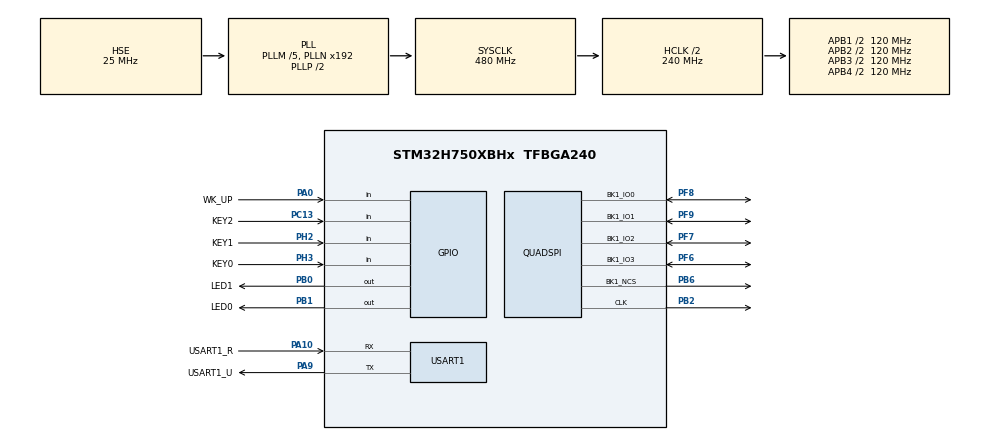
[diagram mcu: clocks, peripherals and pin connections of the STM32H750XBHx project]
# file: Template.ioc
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CORTEX_M7.CPU_DCache=Enabled
CORTEX_M7.CPU_ICache=Enabled
CORTEX_M7.Enable_Spec=__NULL
CORTEX_M7.MPU_Control=MPU_PRIVILEGED_DEFAULT
CORTEX_M7.default_mode_Activation=1
IWDG1.Prescaler=IWDG_PRESCALER_64
IWDG1.Reload=4000
IWDG1.Window=4000
Mcu.Family=STM32H7
Mcu.Name=STM32H750XBHx
Mcu.Package=TFBGA240
NVIC.PriorityGroup=NVIC_PRIORITYGROUP_4
NVIC.TIM6_DAC_IRQn=true\:15\:0\:false\:false\:true\:false\:true\:true
NVIC.TimeBase=TIM6_DAC_IRQn
NVIC.TimeBaseIP=TIM6
NVIC.USART1_IRQn=true\:0\:0\:false\:false\:true\:true\:true\:true
PA0.GPIO_Label=WK_UP
PA0.GPIO_PuPd=GPIO_PULLDOWN
PA0.Signal=GPIO_Input
PA10.GPIO_Label=USART1_R
PA10.GPIO_PuPd=GPIO_PULLUP
PA10.Mode=Asynchronous
PA10.Signal=USART1_RX
PA13\ (JTMS/SWDIO).Mode=Serial_Wire
PA13\ (JTMS/SWDIO).Signal=DEBUG_JTMS-SWDIO
PA14\ (JTCK/SWCLK).Mode=Serial_Wire
PA14\ (JTCK/SWCLK).Signal=DEBUG_JTCK-SWCLK
PA9.GPIO_Label=USART1_U
PA9.Mode=Asynchronous
PA9.Signal=USART1_TX
PB0.GPIO_Label=LED1
PB0.GPIO_PuPd=GPIO_PULLUP
PB0.PinState=GPIO_PIN_SET
PB0.Signal=GPIO_Output
PB1.GPIO_Label=LED0
PB1.GPIO_PuPd=GPIO_PULLUP
PB1.PinState=GPIO_PIN_SET
PB1.Signal=GPIO_Output
PB2.GPIO_Speed=GPIO_SPEED_FREQ_VERY_HIGH
PB2.Mode=Single Bank 1
PB2.Signal=QUADSPI_CLK
PB6.GPIO_Speed=GPIO_SPEED_FREQ_VERY_HIGH
PB6.Mode=Single Bank 1
PB6.Signal=QUADSPI_BK1_NCS
PC13.GPIO_Label=KEY2
PC13.GPIO_PuPd=GPIO_PULLUP
PC13.Signal=GPIO_Input
PF6.GPIO_Speed=GPIO_SPEED_FREQ_VERY_HIGH
PF6.Mode=Single Bank 1
PF6.Signal=QUADSPI_BK1_IO3
PF7.GPIO_Speed=GPIO_SPEED_FREQ_VERY_HIGH
PF7.Mode=Single Bank 1
PF7.Signal=QUADSPI_BK1_IO2
PF8.GPIO_Speed=GPIO_SPEED_FREQ_VERY_HIGH
PF8.Mode=Single Bank 1
PF8.Signal=QUADSPI_BK1_IO0
PF9.GPIO_Speed=GPIO_SPEED_FREQ_VERY_HIGH
PF9.Mode=Single Bank 1
PF9.Signal=QUADSPI_BK1_IO1
PH0-OSC_IN\ (PH0).Mode=HSE-External-Oscillator
PH0-OSC_IN\ (PH0).Signal=RCC_OSC_IN
PH1-OSC_OUT\ (PH1).Mode=HSE-External-Oscillator
PH1-OSC_OUT\ (PH1).Signal=RCC_OSC_OUT
PH2.GPIO_Label=KEY1
PH2.GPIO_PuPd=GPIO_PULLUP
PH2.Signal=GPIO_Input
PH3.GPIO_Label=KEY0
PH3.GPIO_PuPd=GPIO_PULLUP
PH3.Signal=GPIO_Input
ProjectManager.HeapSize=0x200
ProjectManager.StackSize=0x400
ProjectManager.TargetToolchain=MDK-ARM V5.32
QUADSPI.ChipSelectHighTime=QSPI_CS_HIGH_TIME_2_CYCLE
QUADSPI.ClockPrescaler=1
QUADSPI.FifoThreshold=32
QUADSPI.FlashSize=23
QUADSPI.SampleShifting=QSPI_SAMPLE_SHIFTING_HALFCYCLE
RCC.ADCFreq_Value=50390625
RCC.APB1Freq_Value=120000000
RCC.APB2Freq_Value=120000000
RCC.APB3Freq_Value=120000000
RCC.APB4Freq_Value=120000000
RCC.CortexFreq_Value=480000000
RCC.D1PPRE=RCC_APB3_DIV2
RCC.D2PPRE1=RCC_APB1_DIV2
RCC.D2PPRE2=RCC_APB2_DIV2
RCC.D3PPRE=RCC_APB4_DIV2
RCC.DIVM1=5
RCC.DIVN1=192
RCC.HCLKFreq_Value=240000000
RCC.HPRE=RCC_HCLK_DIV2
RCC.PLL2FRACN=0
RCC.PLL3FRACN=0
RCC.PLLFRACN=0
RCC.PLLSourceVirtual=RCC_PLLSOURCE_HSE
RCC.PWR_Regulator_Voltage_Scale=PWR_REGULATOR_VOLTAGE_SCALE0
RCC.SYSCLKFreq_VALUE=480000000
RCC.SYSCLKSource=RCC_SYSCLKSOURCE_PLLCLK
RCC.USBFreq_Value=480000000
USART1.VirtualMode-Asynchronous=VM_ASYNC
VP_IWDG1_VS_IWDG.Mode=IWDG_Activate
VP_MEMORYMAP_VS_MEMORYMAP.Mode=CurAppReg
VP_SYS_VS_tim6.Mode=TIM6
board=custom

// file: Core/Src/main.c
/* USER CODE BEGIN Header */
/**
  ******************************************************************************
  * @file           : main.c
  * @brief          : Main program body
  ******************************************************************************
  * @attention
  *
  * Copyright (c) 2026 STMicroelectronics.
  * All rights reserved.
  *
  * This software is licensed under terms that can be found in the LICENSE file
  * in the root directory of this software component.
  * If no LICENSE file comes with this software, it is provided AS-IS.
  *
  ******************************************************************************
  */
/* USER CODE END Header */
#include "main.h"
#include "iwdg.h"
#include "quadspi.h"
#include "usart.h"
#include "gpio.h"

/* USER CODE BEGIN Includes */
#include <stdio.h>
#include "./BSP/MPU/mpu.h"
#include "./BSP/BSPQSPI/BspQspiBoot.h"
#include "./BSP/LED/led.h"
/* USER CODE END Includes */

void SystemClock_Config(void);
static void MPU_Config(void);
/* USER CODE BEGIN PFP */
/* ����ȫ���жϵĺ� */
#define ENABLE_INT()	__set_PRIMASK(0)	/* ʹ��ȫ���ж� */
#define DISABLE_INT()	__set_PRIMASK(1)	/* ��ֹȫ���ж� */

void JumpToApp(void)
{
	uint32_t i=0;
	void (*AppJump)(void);         /* 声明一个函数指针 */
	__IO uint32_t AppAddr = 0x90002000;  /* APP 地址 */

    /* 关闭全局中断 */
	DISABLE_INT();
    //[删除]
    /* 设置所有时钟到默认状态，使用HSI时钟 */
	HAL_RCC_DeInit();
    //【添加】
    HAL_SuspendTick();

	/* 关闭滴答定时器，复位到默认值 */
	SysTick->CTRL = 0;
    SysTick->LOAD = 0;
    SysTick->VAL = 0;

    /* 关闭所有中断，清除所有中断挂起标志 */
	for (i = 0; i < 8; i++)
	{
		NVIC->ICER[i]=0xFFFFFFFF;
		NVIC->ICPR[i]=0xFFFFFFFF;
	}

    //	/* 使能全局中断 */
    ENABLE_INT();

	/* 跳转到应用程序，首地址是MSP，地址+4是复位中断服务程序地址 */
	AppJump = (void (*)(void)) (*((uint32_t *) (AppAddr + 4)));

	/* 设置主堆栈指针 */
	__set_MSP(*(uint32_t *)AppAddr);

	/* 在RTOS工程，这条语句很重要，设置为特权级模式，使用MSP指针 */
	__set_CONTROL(0);

	/* 跳转到系统BootLoader */
	AppJump();

	/* 跳转成功的话，不会执行到这里，用户可以在这里添加代码 */
	while (1)
	{

	}
}
/* USER CODE END PFP */

int main(void)
{

  /* MPU Configuration--------------------------------------------------------*/
   //MPU_Config();
   mpu_memory_protection();
  /* Enable the CPU Cache */

  /* Enable I-Cache---------------------------------------------------------*/
  SCB_EnableICache();

  /* Enable D-Cache---------------------------------------------------------*/
  SCB_EnableDCache();

  /* MCU Configuration--------------------------------------------------------*/

  /* Reset of all peripherals, Initializes the Flash interface and the Systick. */
  HAL_Init();

  /* Configure the system clock */
  SystemClock_Config();

  /* Initialize all configured peripherals */
  MX_GPIO_Init();
  MX_QUADSPI_Init();
  MX_USART1_UART_Init();
  //MX_IWDG1_Init();
  /* USER CODE BEGIN 2 */
    led_init();
    printf("Bootloader Started...\r\n"); // 先打一行，证明 Bootloader 跑起来了
    if (BspQspiBoot_MemMapped() != 0) {
        printf("QSPI Memory Mapped Failed!\r\n");
    Error_Handler();
    }

    printf("QSPI Mapped Success. Jumping to APP...\r\n");

    JumpToApp();
  /* USER CODE END 2 */

  /* Infinite loop */
  while (1)
  {

  }
}

void SystemClock_Config(void)
{
  RCC_OscInitTypeDef RCC_OscInitStruct = {0};
  RCC_ClkInitTypeDef RCC_ClkInitStruct = {0};

  /** Supply configuration update enable
  */
  HAL_PWREx_ConfigSupply(PWR_LDO_SUPPLY);

  /** Configure the main internal regulator output voltage
  */
  __HAL_PWR_VOLTAGESCALING_CONFIG(PWR_REGULATOR_VOLTAGE_SCALE0);

  while(!__HAL_PWR_GET_FLAG(PWR_FLAG_VOSRDY)) {}

  /** Initializes the RCC Oscillators according to the specified parameters
  * in the RCC_OscInitTypeDef structure.
  */
  RCC_OscInitStruct.OscillatorType = RCC_OSCILLATORTYPE_LSI|RCC_OSCILLATORTYPE_HSE;
  RCC_OscInitStruct.HSEState = RCC_HSE_ON;
  RCC_OscInitStruct.LSIState = RCC_LSI_ON;
  RCC_OscInitStruct.PLL.PLLState = RCC_PLL_ON;
  RCC_OscInitStruct.PLL.PLLSource = RCC_PLLSOURCE_HSE;
  RCC_OscInitStruct.PLL.PLLM = 5;
  RCC_OscInitStruct.PLL.PLLN = 192;
  RCC_OscInitStruct.PLL.PLLP = 2;
  RCC_OscInitStruct.PLL.PLLQ = 2;
  RCC_OscInitStruct.PLL.PLLR = 2;
  RCC_OscInitStruct.PLL.PLLRGE = RCC_PLL1VCIRANGE_2;
  RCC_OscInitStruct.PLL.PLLVCOSEL = RCC_PLL1VCOWIDE;
  RCC_OscInitStruct.PLL.PLLFRACN = 0;
  if (HAL_RCC_OscConfig(&RCC_OscInitStruct) != HAL_OK)
  {
    Error_Handler();
  }

  /** Initializes the CPU, AHB and APB buses clocks
  */
  RCC_ClkInitStruct.ClockType = RCC_CLOCKTYPE_HCLK|RCC_CLOCKTYPE_SYSCLK
                              |RCC_CLOCKTYPE_PCLK1|RCC_CLOCKTYPE_PCLK2
                              |RCC_CLOCKTYPE_D3PCLK1|RCC_CLOCKTYPE_D1PCLK1;
  RCC_ClkInitStruct.SYSCLKSource = RCC_SYSCLKSOURCE_PLLCLK;
  RCC_ClkInitStruct.SYSCLKDivider = RCC_SYSCLK_DIV1;
  RCC_ClkInitStruct.AHBCLKDivider = RCC_HCLK_DIV2;
  RCC_ClkInitStruct.APB3CLKDivider = RCC_APB3_DIV2;
  RCC_ClkInitStruct.APB1CLKDivider = RCC_APB1_DIV2;
  RCC_ClkInitStruct.APB2CLKDivider = RCC_APB2_DIV2;
  RCC_ClkInitStruct.APB4CLKDivider = RCC_APB4_DIV2;

  if (HAL_RCC_ClockConfig(&RCC_ClkInitStruct, FLASH_LATENCY_4) != HAL_OK)
  {
    Error_Handler();
  }
}

 /* MPU Configuration */

void MPU_Config(void)
{
  MPU_Region_InitTypeDef MPU_InitStruct = {0};

  /* Disables the MPU */
  HAL_MPU_Disable();

  /** Initializes and configures the Region and the memory to be protected
  */
  MPU_InitStruct.Enable = MPU_REGION_ENABLE;
  MPU_InitStruct.Number = MPU_REGION_NUMBER0;
  MPU_InitStruct.BaseAddress = 0x30040000;
  MPU_InitStruct.Size = MPU_REGION_SIZE_512B;
  MPU_InitStruct.SubRegionDisable = 0x0;
  MPU_InitStruct.TypeExtField = MPU_TEX_LEVEL0;
  MPU_InitStruct.AccessPermission = MPU_REGION_FULL_ACCESS;
  MPU_InitStruct.DisableExec = MPU_INSTRUCTION_ACCESS_ENABLE;
  MPU_InitStruct.IsShareable = MPU_ACCESS_NOT_SHAREABLE;
  MPU_InitStruct.IsCacheable = MPU_ACCESS_NOT_CACHEABLE;
  MPU_InitStruct.IsBufferable = MPU_ACCESS_BUFFERABLE;

  HAL_MPU_ConfigRegion(&MPU_InitStruct);

  /** Initializes and configures the Region and the memory to be protected
  */
  MPU_InitStruct.Number = MPU_REGION_NUMBER1;
  MPU_InitStruct.BaseAddress = 0x30044000;
  MPU_InitStruct.Size = MPU_REGION_SIZE_16KB;
  MPU_InitStruct.IsCacheable = MPU_ACCESS_CACHEABLE;
  MPU_InitStruct.IsBufferable = MPU_ACCESS_NOT_BUFFERABLE;

  HAL_MPU_ConfigRegion(&MPU_InitStruct);

  /** Initializes and configures the Region and the memory to be protected
  */
  MPU_InitStruct.Number = MPU_REGION_NUMBER2;
  MPU_InitStruct.BaseAddress = 0x24000000;
  MPU_InitStruct.Size = MPU_REGION_SIZE_512KB;
  MPU_InitStruct.IsShareable = MPU_ACCESS_SHAREABLE;
  MPU_InitStruct.IsBufferable = MPU_ACCESS_BUFFERABLE;

  HAL_MPU_ConfigRegion(&MPU_InitStruct);

  /** Initializes and configures the Region and the memory to be protected
  */
  MPU_InitStruct.Number = MPU_REGION_NUMBER3;
  MPU_InitStruct.BaseAddress = 0x20000000;
  MPU_InitStruct.Size = MPU_REGION_SIZE_128KB;

  HAL_MPU_ConfigRegion(&MPU_InitStruct);

  MPU_InitStruct.Number = MPU_REGION_NUMBER4;
  MPU_InitStruct.BaseAddress = 0x90000000;
  MPU_InitStruct.Size = MPU_REGION_SIZE_8MB;
  MPU_InitStruct.AccessPermission = MPU_REGION_FULL_ACCESS; // 允许访问
  MPU_InitStruct.DisableExec = MPU_INSTRUCTION_ACCESS_ENABLE; // 允许执行指令（核心！）
  MPU_InitStruct.IsShareable = MPU_ACCESS_NOT_SHAREABLE;
  MPU_InitStruct.IsCacheable = MPU_ACCESS_CACHEABLE;   // 开启 Cache（核心！）
  MPU_InitStruct.IsBufferable = MPU_ACCESS_BUFFERABLE; // 开启缓冲
  MPU_InitStruct.TypeExtField = MPU_TEX_LEVEL0;        // 配合 C=1, B=1 组成 Write-back 模式

  HAL_MPU_ConfigRegion(&MPU_InitStruct);
  /* Enables the MPU */
  HAL_MPU_Enable(MPU_PRIVILEGED_DEFAULT);

}

void HAL_TIM_PeriodElapsedCallback(TIM_HandleTypeDef *htim)
{
  if (htim->Instance == TIM6)
  {
    HAL_IncTick();
  }
}

void Error_Handler(void)
{
  __disable_irq();
  while (1)
  {
  }
}
